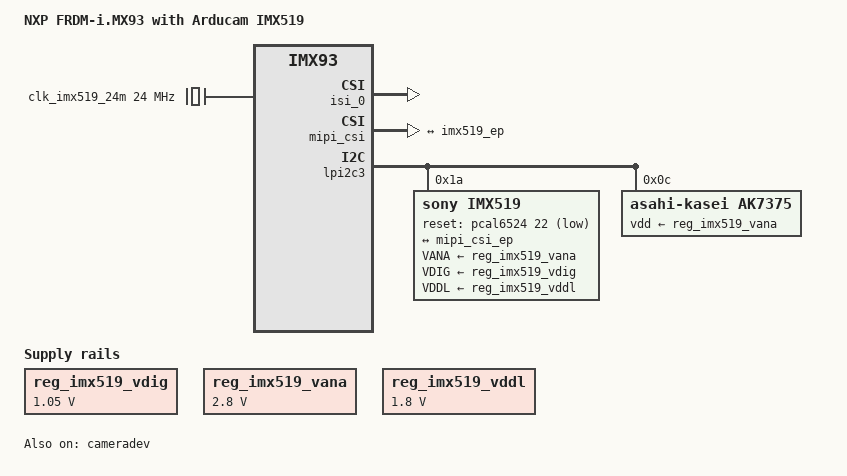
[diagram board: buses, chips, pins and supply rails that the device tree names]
// SPDX-License-Identifier: GPL-2.0
/*
 * FRDM-IMX93 + Arducam IMX519 16MP autofocus.
 *
 * Uses the MiniSAS CSI connector. An RPi-CAM to MiniSAS adapter is required
 * (NXP documents XRPi-CAM-MiniSAS for the OV5640 example).
 */
#include "imx93-11x11-frdm.dts"

/ {
	model = "NXP FRDM-i.MX93 with Arducam IMX519";
	compatible = "fsl,imx93-11x11-frdm-imx519", "fsl,imx93-11x11-frdm",
		     "fsl,imx93";

	clk_imx519_24m: clock-imx519-24m {
		compatible = "fixed-clock";
		#clock-cells = <0>;
		clock-frequency = <24000000>;
		clock-output-names = "imx519_xclk";
	};

	reg_imx519_vdig: regulator-imx519-vdig {
		compatible = "regulator-fixed";
		regulator-name = "imx519_vdig";
		regulator-min-microvolt = <1050000>;
		regulator-max-microvolt = <1050000>;
		regulator-always-on;
	};

	reg_imx519_vana: regulator-imx519-vana {
		compatible = "regulator-fixed";
		regulator-name = "imx519_vana";
		regulator-min-microvolt = <2800000>;
		regulator-max-microvolt = <2800000>;
		regulator-always-on;
	};

	reg_imx519_vddl: regulator-imx519-vddl {
		compatible = "regulator-fixed";
		regulator-name = "imx519_vddl";
		regulator-min-microvolt = <1800000>;
		regulator-max-microvolt = <1800000>;
		regulator-always-on;
	};
};

&isi_0 {
	status = "okay";

	cap_device {
		status = "okay";
	};
};

&cameradev {
	status = "okay";
};

&mipi_csi {
	status = "okay";

	port {
		mipi_csi_ep: endpoint {
			remote-endpoint = <&imx519_ep>;
			data-lanes = <2>;
			cfg-clk-range = <28>;
			hs-clk-range = <0x19>;
			bus-type = <4>;
		};
	};
};

&lpi2c3 {
	/delete-node/ ap1302_mipi@3c;

	imx519: imx519@1a {
		compatible = "sony,imx519";
		reg = <0x1a>;
		status = "okay";

		pinctrl-names = "default";
		pinctrl-0 = <&pinctrl_imx519_pwdn>;

		clocks = <&clk_imx519_24m>;
		clock-names = "xclk";

		reset-gpios = <&pcal6524 22 GPIO_ACTIVE_LOW>;
		/* Optional powerdown if the adapter routes CAM_GPIO here. */
		/* powerdown-gpios = <&gpio4 28 GPIO_ACTIVE_HIGH>; */

		VANA-supply = <&reg_imx519_vana>;
		VDIG-supply = <&reg_imx519_vdig>;
		VDDL-supply = <&reg_imx519_vddl>;

		rotation = <0>;
		orientation = <2>;

		port {
			imx519_ep: endpoint {
				remote-endpoint = <&mipi_csi_ep>;
				clock-lanes = <0>;
				data-lanes = <1 2>;
				clock-noncontinuous;
				link-frequencies = /bits/ 64 <408000000>;
			};
		};
	};

	ak7375: ak7375@c {
		compatible = "asahi-kasei,ak7375";
		reg = <0x0c>;
		status = "okay";
		vdd-supply = <&reg_imx519_vana>;
	};
};

&iomuxc {
	pinctrl_imx519_pwdn: imx519_pwdn_grp {
		fsl,pins = <
			MX93_PAD_CCM_CLKO3__GPIO4_IO28	0x31e
		>;
	};
};
